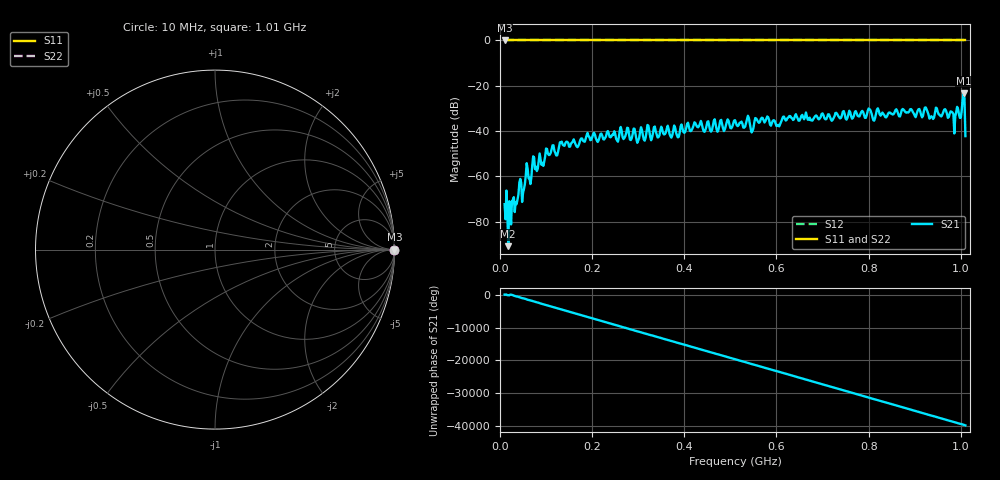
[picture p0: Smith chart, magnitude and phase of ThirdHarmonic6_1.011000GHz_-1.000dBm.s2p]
! 8/16/2025 8:19:55 AM
! C:\ANRITSUVNA\TEMP\TEMP.S2P
! CHANNEL.1
! TR.MEASUREMENT
! RAW.DATA
! RF.CORRECTION.OFF
! AVERAGING.OFF
! IF.BANDWIDTH: 5KHZ
! SWEEPTYPE:  FREQ.SWEEP(Linear)
! Reference Plane Port Info
! PORT:  PORT1  PORT2
! DISTANCE:  0  m  0  m
! TIME:  0  s  0  s
! PHASE.OFFSET:  0  deg.  0  deg.
! LOSS:  0  dB  0  dB
! REF.LOSS:  0  dB  0  dB
! REF.FREQ:  0  Hz  0  Hz
! Power Info
! POWER:  -20  dBm  -20  dBm
! EFF.POWER:  -20  dBm  -20  dBm
! SOURCE.ATTEN:  0  dB  0  dB
! TEST.ATTEN:  0  dB  0  dB
# GHZ S RI R 50.0
! FREQ.GHZ  S11RE  S11IM  S21RE  S21IM  S12RE  S12IM  S22RE  S22IM
!; PortSelection: Port_12
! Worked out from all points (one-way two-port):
!   501 points, 10 MHz to 1.01 GHz, reference 50 ohm
!   highest |S21| = -23.41 dB at 1.006 GHz (marker M1); lowest = -90.8 dB at 18 MHz (marker M2)
!   lowest |S11| = 0.0 dB at 10 MHz (marker M3)
!   |S11| at or under -10 dB: nowhere
!   |S22| runs from 0.0 to 0.0 dB; largest |S21 - S12| = 1.1
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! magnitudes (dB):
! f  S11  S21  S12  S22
! 10 MHz  0.0  -72.3  0.0  0.0
! 18 MHz  0.0  -90.8  0.0  0.0
! 20 MHz  0.0  -71.0  0.0  0.0
! 36 MHz  0.0  -72.3  0.0  0.0
! 42 MHz  0.0  -62.7  0.0  0.0
! 52 MHz  0.0  -65.6  0.0  0.0
! 56 MHz  0.0  -59.5  0.0  0.0
! 66 MHz  0.0  -63.4  0.0  0.0
! 74 MHz  0.0  -51.6  0.0  0.0
! 132 MHz  0.0  -45.1  0.0  0.0
! 178 MHz  0.0  -43.3  0.0  0.0
! 344 MHz  0.0  -42.7  0.0  0.0
! 510 MHz  0.0  -35.2  0.0  0.0
! 538 MHz  0.0  -33.2  0.0  0.0
! 546 MHz  0.0  -40.6  0.0  0.0
! 556 MHz  0.0  -34.4  0.0  0.0
! 678 MHz  0.0  -35.4  0.0  0.0
! 844 MHz  0.0  -31.9  0.0  0.0
! 924 MHz  0.0  -29.6  0.0  0.0
! 986 MHz  0.0  -41.0  0.0  0.0
! 1.006 GHz  0.0  -23.4  0.0  0.0
! 1.01 GHz  0.0  -42.2  0.0  0.0
